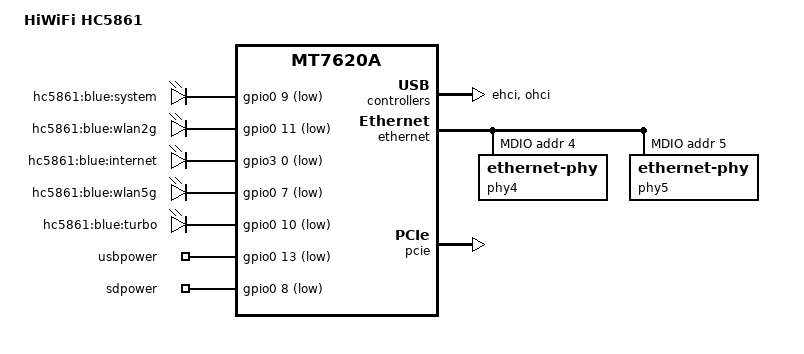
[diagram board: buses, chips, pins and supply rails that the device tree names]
/dts-v1/;

#include "HC5X61.dtsi"

/ {
	compatible = "hiwifi,hc5861", "hiwifi,hc5x61", "ralink,mt7620a-soc";
	model = "HiWiFi HC5861";

	aliases {
		led-boot = &led_system;
		led-failsafe = &led_system;
		led-running = &led_system;
		led-upgrade = &led_system;
	};

	gpio-leds {
		compatible = "gpio-leds";

		led_system: system {
			label = "hc5861:blue:system";
			gpios = <&gpio0 9 GPIO_ACTIVE_LOW>;
		};

		wlan2g {
			label = "hc5861:blue:wlan2g";
			gpios = <&gpio0 11 GPIO_ACTIVE_LOW>;
		};

		internet {
			label = "hc5861:blue:internet";
			gpios = <&gpio3 0 GPIO_ACTIVE_LOW>;
		};

		wlan5g {
			label = "hc5861:blue:wlan5g";
			gpios = <&gpio0 7 GPIO_ACTIVE_LOW>;
		};

		turbo {
			label = "hc5861:blue:turbo";
			gpios = <&gpio0 10 GPIO_ACTIVE_LOW>;
		};
	};

	gpio_export {
		compatible = "gpio-export";
		#size-cells = <0>;

		usbpower {
			gpio-export,name = "usbpower";
			gpio-export,output = <0>;
			gpios = <&gpio0 13 GPIO_ACTIVE_LOW>;
		};

		sdpower {
			gpio-export,name = "sdpower";
			gpio-export,output = <0>;
			gpios = <&gpio0 8 GPIO_ACTIVE_LOW>;
		};
	};
};

&ehci {
	status = "okay";
};

&ohci {
	status = "okay";
};

&ethernet {
	status = "okay";
	mtd-mac-address = <&factory 0x4>;
	pinctrl-names = "default";
	pinctrl-0 = <&rgmii1_pins &rgmii2_pins &mdio_pins>;
	mediatek,portmap = "wllll";

	port@4 {
		status = "okay";
		phy-handle = <&phy4>;
		phy-mode = "rgmii";
	};

	port@5 {
		status = "okay";
		phy-handle = <&phy5>;
		phy-mode = "rgmii";
	};

	mdio-bus {
		status = "okay";

		phy4: ethernet-phy@4 {
			reg = <4>;
			phy-mode = "rgmii";
		};

		phy5: ethernet-phy@5 {
			reg = <5>;
			phy-mode = "rgmii";
		};
	};
};

&gsw {
	mediatek,port4 = "gmac";
};

&pcie {
	status = "okay";
};

&pcie0 {
	mt76@0,0 {
		reg = <0x0000 0 0 0 0>;
		mediatek,mtd-eeprom = <&factory 0x8000>;
		ieee80211-freq-limit = <5000000 6000000>;
	};
};
